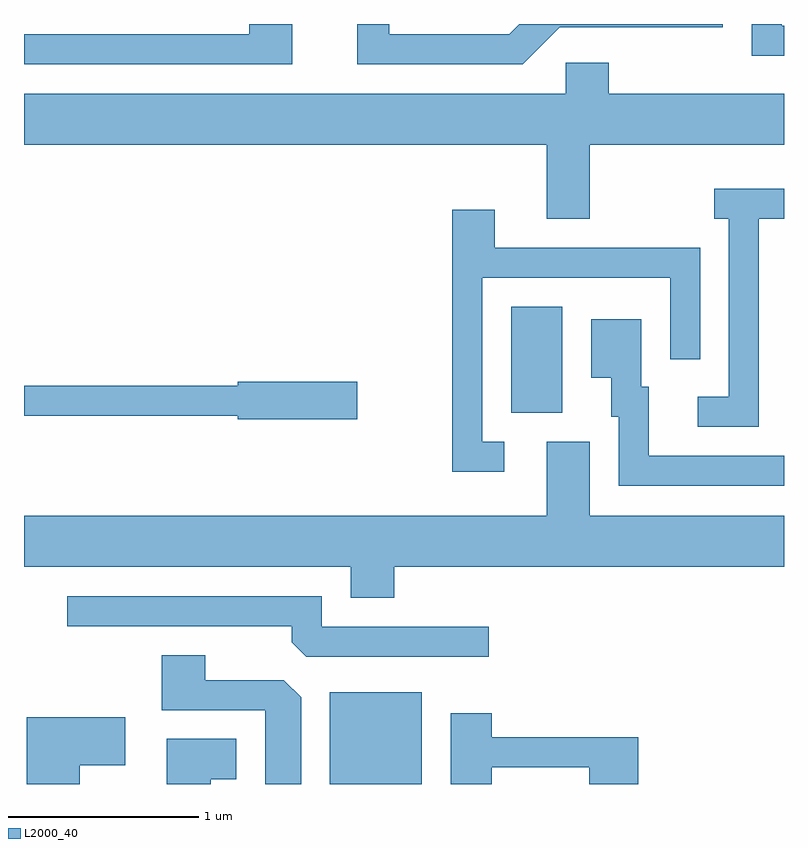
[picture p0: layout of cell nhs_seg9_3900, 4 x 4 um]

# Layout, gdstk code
import gdstk
lib = gdstk.Library(unit=1e-6, precision=1e-09)
def R(c, l, rs):  # rectangles x0, y0, x1, y1
    for r in rs: c.add(gdstk.rectangle(r[:2], r[2:], *l))
def P(c, l, *ps):  # polygons
    for p in ps: c.add(gdstk.Polygon(p, *l))
L2000_40 = (2000, 40)

nhs_seg9_3900 = lib.new_cell('nhs_seg9_3900')
R(nhs_seg9_3900, L2000_40, [(301.221,2008.432,301.704,2008.914), (302.176,2010.386,302.444,2010.944)])
P(nhs_seg9_3900, L2000_40, [(302.432,2012.416),(303.289,2012.416),(303.289,2012.432),(302.217,2012.432),(302.164,2012.379),(301.534,2012.379),(301.534,2012.432),(301.366,2012.432),(301.366,2012.221),(302.237,2012.221)],
  [(303.611,2012.424),(303.599,2012.424),(303.599,2012.432),(303.441,2012.432),(303.441,2012.266),(303.611,2012.266)],
  [(301.024,2012.432),(300.796,2012.432),(300.796,2012.379),(299.611,2012.379),(299.611,2012.221),(301.024,2012.221)],
  [(302.589,2011.796),(303.611,2011.796),(303.611,2012.064),(302.689,2012.064),(302.689,2012.229),(302.461,2012.229),(302.461,2012.064),(299.611,2012.064),(299.611,2011.796),(302.361,2011.796),(302.361,2011.406),(302.589,2011.406)],
  [(303.479,2011.406),(303.611,2011.406),(303.611,2011.564),(303.243,2011.564),(303.243,2011.406),(303.321,2011.406),(303.321,2010.469),(303.158,2010.469),(303.158,2010.311),(303.479,2010.311)],
  [(302.138,2010.234),(302.024,2010.234),(302.024,2011.096),(303.011,2011.096),(303.011,2010.668),(303.169,2010.668),(303.169,2011.254),(302.089,2011.254),(302.089,2011.454),(301.866,2011.454),(301.866,2010.076),(302.138,2010.076)],
  [(303.611,2010.159),(302.899,2010.159),(302.899,2010.524),(302.859,2010.524),(302.859,2010.879),(302.596,2010.879),(302.596,2010.571),(302.701,2010.571),(302.701,2010.366),(302.741,2010.366),(302.741,2010.001),(303.611,2010.001)],
  [(301.364,2010.549),(300.736,2010.549),(300.736,2010.529),(299.611,2010.529),(299.611,2010.371),(300.736,2010.371),(300.736,2010.351),(301.364,2010.351)],
  [(301.559,2009.576),(303.611,2009.576),(303.611,2009.844),(302.589,2009.844),(302.589,2010.234),(302.361,2010.234),(302.361,2009.844),(299.611,2009.844),(299.611,2009.576),(301.331,2009.576),(301.331,2009.411),(301.559,2009.411)],
  [(302.058,2009.259),(301.179,2009.259),(301.179,2009.419),(299.838,2009.419),(299.838,2009.261),(301.021,2009.261),(301.021,2009.177),(301.097,2009.101),(302.058,2009.101)],
  [(301.069,2008.889),(300.979,2008.979),(300.564,2008.979),(300.564,2009.109),(300.336,2009.109),(300.336,2008.821),(300.881,2008.821),(300.881,2008.432),(301.069,2008.432)],
  [(302.074,2008.521),(302.586,2008.521),(302.586,2008.432),(302.844,2008.432),(302.844,2008.679),(302.074,2008.679),(302.074,2008.804),(301.856,2008.804),(301.856,2008.432),(302.074,2008.432)],
  [(299.904,2008.531),(300.144,2008.531),(300.144,2008.784),(299.626,2008.784),(299.626,2008.432),(299.904,2008.432)],
  [(300.594,2008.456),(300.729,2008.456),(300.729,2008.669),(300.361,2008.669),(300.361,2008.432),(300.594,2008.432)])

lib.write_gds('nhs_seg9_3900.gds')
